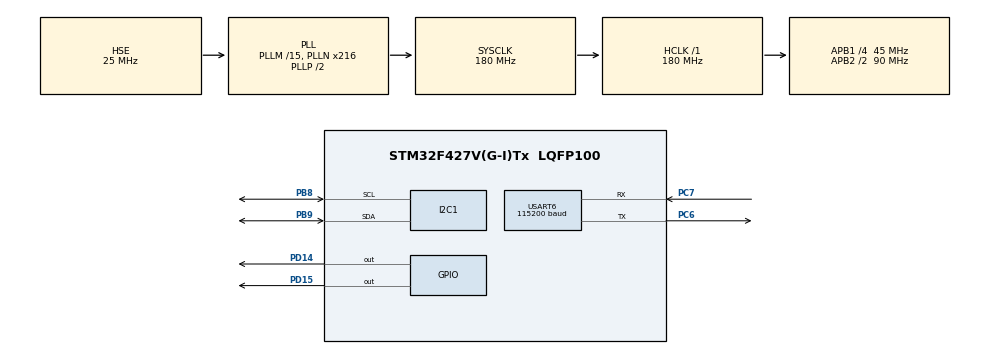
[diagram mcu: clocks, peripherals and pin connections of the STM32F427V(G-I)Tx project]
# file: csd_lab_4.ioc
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I2C1.I2C_Mode=I2C_Fast
Mcu.Family=STM32F4
Mcu.Name=STM32F427V(G-I)Tx
Mcu.Package=LQFP100
NVIC.PriorityGroup=NVIC_PRIORITYGROUP_4
NVIC.TIM6_DAC_IRQn=true\:0\:0\:false\:false\:true\:true\:true\:true
NVIC.USART6_IRQn=true\:0\:0\:false\:false\:true\:true\:true\:true
PA13.Mode=JTAG_5_pins
PA13.Signal=SYS_JTMS-SWDIO
PA14.Mode=JTAG_5_pins
PA14.Signal=SYS_JTCK-SWCLK
PA15.Mode=JTAG_5_pins
PA15.Signal=SYS_JTDI
PB3.Mode=JTAG_5_pins
PB3.Signal=SYS_JTDO-SWO
PB4.Mode=JTAG_5_pins
PB4.Signal=SYS_JTRST
PB8.Mode=I2C
PB8.Signal=I2C1_SCL
PB9.Mode=I2C
PB9.Signal=I2C1_SDA
PC6.Mode=Asynchronous
PC6.Signal=USART6_TX
PC7.Mode=Asynchronous
PC7.Signal=USART6_RX
PD14.Signal=GPIO_Output
PD15.Signal=GPIO_Output
PH0/OSC_IN.Mode=HSE-External-Oscillator
PH0/OSC_IN.Signal=RCC_OSC_IN
PH1/OSC_OUT.Mode=HSE-External-Oscillator
PH1/OSC_OUT.Signal=RCC_OSC_OUT
ProjectManager.HeapSize=0x200
ProjectManager.StackSize=0x400
ProjectManager.TargetToolchain=CMake
RCC.48MHZClocksFreq_Value=90000000
RCC.AHBFreq_Value=180000000
RCC.APB1CLKDivider=RCC_HCLK_DIV4
RCC.APB1Freq_Value=45000000
RCC.APB1TimFreq_Value=90000000
RCC.APB2CLKDivider=RCC_HCLK_DIV2
RCC.APB2Freq_Value=90000000
RCC.APB2TimFreq_Value=180000000
RCC.CortexFreq_Value=180000000
RCC.HCLKFreq_Value=180000000
RCC.HSE_VALUE=25000000
RCC.HSI_VALUE=16000000
RCC.LSE_VALUE=32768
RCC.PLLM=15
RCC.PLLN=216
RCC.PLLSourceVirtual=RCC_PLLSOURCE_HSE
RCC.SYSCLKFreq_VALUE=180000000
RCC.SYSCLKSource=RCC_SYSCLKSOURCE_PLLCLK
RCC.VCOOutputFreq_Value=360000000
TIM6.Period=9999
TIM6.Prescaler=899
USART6.BaudRate=115200
USART6.VirtualMode=VM_ASYNC
VP_TIM6_VS_ClockSourceINT.Mode=Enable_Timer
board=custom

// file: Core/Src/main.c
/* USER CODE BEGIN Header */
/**
  ******************************************************************************
  * @file           : main.c
  * @brief          : Main program body
  ******************************************************************************
  * @attention
  *
  * Copyright (c) 2024 STMicroelectronics.
  * All rights reserved.
  *
  * This software is licensed under terms that can be found in the LICENSE file
  * in the root directory of this software component.
  * If no LICENSE file comes with this software, it is provided AS-IS.
  *
  ******************************************************************************
  */
/* USER CODE END Header */
#include "main.h"
#include "i2c.h"
#include "tim.h"
#include "usart.h"
#include "gpio.h"

/* USER CODE BEGIN Includes */
#include "ring_buffer.h"
/* USER CODE END Includes */

/* USER CODE BEGIN PM */
#define TX6_BUFFER_SIZE 1000

#define I2C_TIMEOUT 100
#define GPIO_EXPANDER_ADDRESS 0xE2
#define GPIO_EXP_IN_REG 0x00
#define GPIO_EXP_OUT_REG 0x01
#define GPIO_EXP_INV_REG 0x02
#define GPIO_EXP_CONFIG_REG 0x03
/* USER CODE END PM */

/* USER CODE BEGIN PV */
char __uart6_tx_buff[TX6_BUFFER_SIZE];
RingBuffer uart6_tx_buff;
bool UART6_TX_IsReady = true;
uint8_t uart6_tx_byte_buff[4];

enum I2C_Status {
  I2C_WRITE_COMPLETE,
  I2C_READ_COMPLETE = 0,
};
enum I2C_Status keyboard_i2c_status = I2C_READ_COMPLETE;
uint8_t keyboard_i2c_byte_buff[1];
uint8_t keybord_lines_buff[4];
int8_t keyboard_curr_line = -1;

bool KeyBoard_IsRefreshTime = false;

char KeyBoard_PressedSymbol;
bool KeyBoard_HasPressedSymbol = false;

typedef struct __UserInput {
  int16_t operand[2];
  uint16_t curr_op;
  int8_t dec_place;
  char action;
} UserInputTypeDef;

UserInputTypeDef UserInput;
/* USER CODE END PV */

void SystemClock_Config(void);

/* USER CODE BEGIN 0 */
/* UART6 ---------------------------------------------------------------------*/
/**
 * @brief Пытается отправить данные из кольцевого буфера
 */
void UART6_TryToTransmit_IT() {
  if (UART6_TX_IsReady && !RingBuffer_IsEmpty(&uart6_tx_buff)) {
    RingBuffer_Read(&uart6_tx_buff, uart6_tx_byte_buff, 1);
    UART6_TX_IsReady = false;
    HAL_UART_Transmit_IT(&huart6, (uint8_t*) uart6_tx_byte_buff, 1);
  }
}

/**
 * @brief Отправляет байт в режиме прерываний
 * @return true - байт записан в буфер отправки
 * @return false - буфер отправки переполнен
 */
bool UART6_TransmitByte(char byte) {
  bool result = false;
  if (!uart6_tx_buff.isFull) {
      RingBuffer_Write(&uart6_tx_buff, &byte, 1);
      result = true;
    }
  UART6_TryToTransmit_IT();
  return result;
}

/**
 * @brief Получает байт по uart
 * @return true - данные записан в буфер отправки
 * @return false - буфер отправки переполнен
 */
bool UART6_TransmitString(char* str) {
  bool result = false;
  if (!uart6_tx_buff.isFull) {
    RingBuffer_Write(&uart6_tx_buff, str, strlen(str));
  }
  UART6_TryToTransmit_IT();
  return result;
}

void HAL_UART_TxCpltCallback(UART_HandleTypeDef* UartHandle) {
  if (UartHandle == &huart6) {
    if (!RingBuffer_IsEmpty(&uart6_tx_buff)) {
      RingBuffer_Read(&uart6_tx_buff, uart6_tx_byte_buff, 1);
      HAL_UART_Transmit_IT(&huart6, (uint8_t*) uart6_tx_byte_buff, 1);
    } else {
      UART6_TX_IsReady = true;
    }
  }
}

void SetError(void) {
  UART6_TransmitString("\nerror\n");
  HAL_GPIO_WritePin(GPIOD, GPIO_PIN_15, GPIO_PIN_SET);
}

void ResetError(void) {
  HAL_GPIO_WritePin(GPIOD, GPIO_PIN_15, GPIO_PIN_RESET);
}

/* Key Board & I2C -----------------------------------------------------------*/
char KeyBoard_DecodeKey(int8_t key_number) {
  if (key_number >= 0 && key_number < 9) {
    return ((char) key_number) + '1';
  }
  switch (key_number) {
    case 9: return '=';
    case 10: return '0';
    case 11: return '+';
    case 12: return '-';
    case 13: return '*';
    case 14: return '/';
    default: return '\0';
  }
}

void KeyBoard_DefineSymbol() {
  bool cmdIsSet = (keybord_lines_buff[4] == 0x01);
  int8_t total = 0;
  int8_t sym = 0;
  uint8_t curr_line;
  for (int8_t i = 0; i < 4; i++) {
    curr_line = keybord_lines_buff[i];
    for (int8_t j = 0; j < 3; j++) {
      if ((curr_line >> j) & 0x1) {
        ++total;
        sym += i*3+j;
      }
    }
  }
  char curr_char;
  if ((cmdIsSet && total == 2) || (!cmdIsSet && total == 1)) {
    curr_char = KeyBoard_DecodeKey(sym);
    if (KeyBoard_PressedSymbol != curr_char) {
      KeyBoard_PressedSymbol = curr_char;
      KeyBoard_HasPressedSymbol = true;
    }
  } else {
    KeyBoard_PressedSymbol = '\0';
  }
}

HAL_StatusTypeDef I2C1_GPIOExpander_Write(uint16_t RegAddess, uint8_t* Buffer, uint16_t Size) {
  return HAL_I2C_Mem_Write(&hi2c1, GPIO_EXPANDER_ADDRESS, RegAddess, 1, Buffer, Size, I2C_TIMEOUT);
}

HAL_StatusTypeDef I2C1_GPIOExpander_Read(uint16_t RegAddess, uint8_t* Buffer, uint16_t Size) {
  return HAL_I2C_Mem_Read(&hi2c1, GPIO_EXPANDER_ADDRESS, RegAddess, 1, Buffer, Size, I2C_TIMEOUT);
}

uint8_t KeyBoard_RefreshLine(int8_t line) {
  HAL_StatusTypeDef status;
  uint8_t tmp;
  tmp = ~(1 << line);
  I2C1_GPIOExpander_Write(GPIO_EXP_INV_REG, &tmp, 1);
  tmp = ~(1 << line);
  I2C1_GPIOExpander_Write(GPIO_EXP_OUT_REG, &tmp, 1);
  tmp = ~(1 << line);
  I2C1_GPIOExpander_Write(GPIO_EXP_CONFIG_REG, &tmp, 1);
  HAL_Delay(10);
  tmp = 0;
  I2C1_GPIOExpander_Read(GPIO_EXP_IN_REG, &tmp, 1);
  return (tmp >> 4) & 0x7;
}

void KeyBoard_Refresh() {
  uint8_t tmp = KeyBoard_RefreshLine(keyboard_curr_line);
  // HAL_UART_Transmit(&huart6, &tmp, 1, 40);
  keybord_lines_buff[keyboard_curr_line] = tmp;
  ++keyboard_curr_line;
  if (keyboard_curr_line > 3) {
    keyboard_curr_line = 0;
    KeyBoard_DefineSymbol();
  }
}

void HAL_TIM_PeriodElapsedCallback(TIM_HandleTypeDef *htim) {
  if (htim->Instance == TIM6) {
    KeyBoard_IsRefreshTime = true;
  }
}

/* User Input ----------------------------------------------------------------*/
void ResetInput(void) {
  UserInput.operand[0] = 0;
  UserInput.operand[1] = 0;
  UserInput.curr_op = 0;
  UserInput.dec_place = 0;
}

void PrintResult(void) {
  int16_t a = UserInput.operand[0];
  int16_t b = UserInput.operand[1];
  int32_t result = 0;
  char result_str[32];
  switch (UserInput.action) {
    case '+':
      result = a + b;
      break;
    case '-':
      result = a - b;
      break;
    case '*':
      result = a * b;
      break;
    case '/':
      result = a / b;
      break;
  }
  if (result < INT16_MIN || result > INT16_MAX || (UserInput.action == '/' && b == 0)) {
    SetError();
    ResetInput();
  } else {
    UART6_TransmitString(itoa(result, result_str, 10));
    UART6_TransmitByte('\n');
    ResetInput();
  }
}

void ProcessInput(char sym) {
  if (isdigit(sym) && UserInput.dec_place++ < 5) {
    ResetError();
    UserInput.operand[UserInput.curr_op] = UserInput.operand[UserInput.curr_op] * 10 + (int16_t) (sym - '0');
    if (UserInput.operand[UserInput.curr_op] < 0) {
      SetError();
      ResetInput();
    }
  } else if ((sym == '+' || sym == '-' || sym == '/' || sym == '*') && UserInput.curr_op == 0) {
    UserInput.dec_place = 0;
    ++UserInput.curr_op;
    UserInput.action = sym;
  } else if (sym == '=' && UserInput.curr_op == 1) {
    PrintResult();
  } else {
    SetError();
    ResetInput();
  }
}

/* USER CODE END 0 */

int main(void)
{

  /* USER CODE BEGIN 1 */
  RingBuffer_Init(&uart6_tx_buff, __uart6_tx_buff, TX6_BUFFER_SIZE);
  /* USER CODE END 1 */

  /* MCU Configuration--------------------------------------------------------*/

  /* Reset of all peripherals, Initializes the Flash interface and the Systick. */
  HAL_Init();

  /* Configure the system clock */
  SystemClock_Config();

  /* Initialize all configured peripherals */
  MX_GPIO_Init();
  MX_I2C1_Init();
  MX_USART6_UART_Init();
  MX_TIM6_Init();

  /* Infinite loop */
  /* USER CODE BEGIN WHILE */
  HAL_TIM_Base_Start_IT(&htim6);
  while (1)
  {
    if (KeyBoard_IsRefreshTime) {
      KeyBoard_IsRefreshTime = false;
      KeyBoard_Refresh();
    }
    if (KeyBoard_HasPressedSymbol && KeyBoard_PressedSymbol != '\0') {
      UART6_TransmitByte(KeyBoard_PressedSymbol);
      KeyBoard_HasPressedSymbol = false;
      ProcessInput(KeyBoard_PressedSymbol);
    }
    /* USER CODE END WHILE */

  }
}

void SystemClock_Config(void)
{
  RCC_OscInitTypeDef RCC_OscInitStruct = {0};
  RCC_ClkInitTypeDef RCC_ClkInitStruct = {0};

  /** Configure the main internal regulator output voltage
  */
  __HAL_RCC_PWR_CLK_ENABLE();
  __HAL_PWR_VOLTAGESCALING_CONFIG(PWR_REGULATOR_VOLTAGE_SCALE1);

  /** Initializes the RCC Oscillators according to the specified parameters
  * in the RCC_OscInitTypeDef structure.
  */
  RCC_OscInitStruct.OscillatorType = RCC_OSCILLATORTYPE_HSE;
  RCC_OscInitStruct.HSEState = RCC_HSE_ON;
  RCC_OscInitStruct.PLL.PLLState = RCC_PLL_ON;
  RCC_OscInitStruct.PLL.PLLSource = RCC_PLLSOURCE_HSE;
  RCC_OscInitStruct.PLL.PLLM = 15;
  RCC_OscInitStruct.PLL.PLLN = 216;
  RCC_OscInitStruct.PLL.PLLP = RCC_PLLP_DIV2;
  RCC_OscInitStruct.PLL.PLLQ = 4;
  if (HAL_RCC_OscConfig(&RCC_OscInitStruct) != HAL_OK)
  {
    Error_Handler();
  }

  /** Activate the Over-Drive mode
  */
  if (HAL_PWREx_EnableOverDrive() != HAL_OK)
  {
    Error_Handler();
  }

  /** Initializes the CPU, AHB and APB buses clocks
  */
  RCC_ClkInitStruct.ClockType = RCC_CLOCKTYPE_HCLK|RCC_CLOCKTYPE_SYSCLK
                              |RCC_CLOCKTYPE_PCLK1|RCC_CLOCKTYPE_PCLK2;
  RCC_ClkInitStruct.SYSCLKSource = RCC_SYSCLKSOURCE_PLLCLK;
  RCC_ClkInitStruct.AHBCLKDivider = RCC_SYSCLK_DIV1;
  RCC_ClkInitStruct.APB1CLKDivider = RCC_HCLK_DIV4;
  RCC_ClkInitStruct.APB2CLKDivider = RCC_HCLK_DIV2;

  if (HAL_RCC_ClockConfig(&RCC_ClkInitStruct, FLASH_LATENCY_5) != HAL_OK)
  {
    Error_Handler();
  }
}

void Error_Handler(void)
{
  __disable_irq();
  while (1)
  {
  }
}
